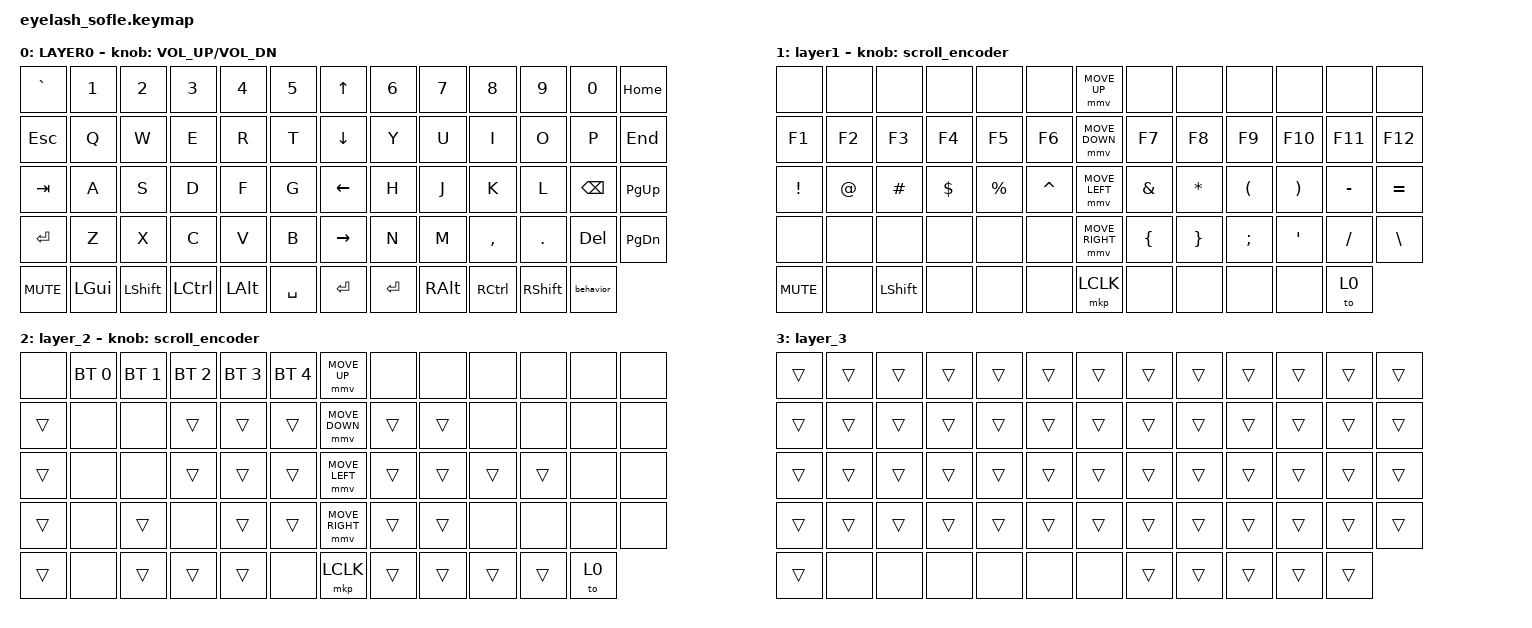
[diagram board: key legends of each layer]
#define ZMK_POINTING_DEFAULT_MOVE_VAL 1200  // 600
#define ZMK_POINTING_DEFAULT_SCRL_VAL 35    // 10

#include <input/processors.dtsi>
#include <zephyr/dt-bindings/input/input-event-codes.h>
#include <behaviors.dtsi>
#include <dt-bindings/zmk/bt.h>
#include <dt-bindings/zmk/keys.h>
#include <dt-bindings/zmk/pointing.h>

/ {
    zip_scroll_scaler: zip_scroll_scaler {
        compatible = "zmk,input-processor-scaler";
        #input-processor-cells = <2>;
        type = <INPUT_EV_REL>;
        codes = <INPUT_REL_WHEEL INPUT_REL_HWHEEL>;
        track-remainders;
    };
};

&mmv_input_listener { input-processors = <&zip_xy_scaler 2 1>; };

&msc_input_listener { input-processors = <&zip_scroll_scaler 2 1>; };

&msc {
    acceleration-exponent = <0>;      // 0
    time-to-max-speed-ms = <0>;       // 300
    delay-ms = <0>;                   // 0
};

&mmv {
    time-to-max-speed-ms = <400>;
    acceleration-exponent = <1>;
};

/ {
    scroll_encoder: scroll_encoder {
        compatible = "zmk,behavior-sensor-rotate";
        #sensor-binding-cells = <0>;
        bindings = <&msc SCRL_DOWN>, <&msc SCRL_UP>;

        tap-ms = <30>;
    };

    new_behavior: new_behavior {
        compatible = "zmk,behavior-hold-tap";
        label = "NEW_BEHAVIOR";
        bindings = <&mo>, <&kp>;

        #binding-cells = <2>;
        tapping-term-ms = <60>;
    };

    behavior: behavior {
        compatible = "zmk,behavior-tap-dance";
        label = "BEHAVIOR";
        #binding-cells = <0>;
        bindings = <&to 1>, <&to 2>, <&to 3>;
    };

    behaviors {
    };

    combos {
        compatible = "zmk,combos";

        refresh {
            bindings = <&kp F5>;
            key-positions = <56 17>;
        };
    };

    macros {
        turn_off: turn_off {
            compatible = "zmk,behavior-macro";
            #binding-cells = <0>;
            bindings = <&none>;
            label = "TURN_OFF";
        };
    };

    keymap {
        compatible = "zmk,keymap";

        layer0 {
            bindings = <
&kp GRAVE   &kp N1        &kp N2          &kp N3     &kp N4        &kp N5       &kp UP_ARROW     &kp N6     &kp N7         &kp N8     &kp N9           &kp N0         &kp HOME
&kp ESCAPE  &kp Q         &kp W           &kp E      &kp R         &kp T        &kp DOWN_ARROW   &kp Y      &kp U          &kp I      &kp O            &kp P          &kp END
&kp TAB     &kp A         &kp S           &kp D      &kp F         &kp G        &kp LEFT_ARROW   &kp H      &kp J          &kp K      &kp L            &kp BACKSPACE  &kp PAGE_UP
&kp ENTER   &kp Z         &kp X           &kp C      &kp V         &kp B        &kp RIGHT_ARROW  &kp N      &kp M          &kp COMMA  &kp DOT          &kp DEL        &kp PAGE_DOWN
&kp C_MUTE  &kp LEFT_GUI  &kp LEFT_SHIFT  &kp LCTRL  &kp LEFT_ALT  &kp SPACE    &kp ENTER        &kp ENTER  &kp RIGHT_ALT  &kp RCTRL  &kp RIGHT_SHIFT  &behavior
            >;

            sensor-bindings = <&inc_dec_kp C_VOLUME_UP C_VOL_DN>;
            display-name = "LAYER0";
        };

        layer_1 {
            bindings = <
&none            &none        &none           &none       &none        &none        &mmv MOVE_UP     &none           &none            &none                 &none                  &none      &none
&kp F1           &kp F2       &kp F3          &kp F4      &kp F5       &kp F6       &mmv MOVE_DOWN   &kp F7          &kp F8           &kp F9                &kp F10                &kp F11    &kp F12
&kp EXCLAMATION  &kp AT_SIGN  &kp HASH        &kp DOLLAR  &kp PERCENT  &kp CARET    &mmv MOVE_LEFT   &kp AMPERSAND   &kp ASTERISK     &kp LEFT_PARENTHESIS  &kp RIGHT_PARENTHESIS  &kp MINUS  &kp EQUAL
&none            &none        &none           &none       &none        &none        &mmv MOVE_RIGHT  &kp LEFT_BRACE  &kp RIGHT_BRACE  &kp SEMI              &kp APOSTROPHE         &kp SLASH  &kp BACKSLASH
&kp C_MUTE       &none        &kp LEFT_SHIFT  &none       &none        &none        &mkp LCLK        &none           &none            &none                 &none                  &to 0
            >;

            display-name = "layer1";
            sensor-bindings = <&scroll_encoder>;
        };

        layer_2 {
            bindings = <
&none   &bt BT_SEL 0  &bt BT_SEL 1  &bt BT_SEL 2  &bt BT_SEL 3  &bt BT_SEL 4    &mmv MOVE_UP     &none   &none   &none   &none   &none  &none
&trans  &none         &none         &trans        &trans        &trans          &mmv MOVE_DOWN   &trans  &trans  &none   &none   &none  &none
&trans  &none         &none         &trans        &trans        &trans          &mmv MOVE_LEFT   &trans  &trans  &trans  &trans  &none  &none
&trans  &none         &trans        &none         &trans        &trans          &mmv MOVE_RIGHT  &trans  &trans  &none   &none   &none  &none
&trans  &none         &trans        &trans        &trans        &none           &mkp LCLK        &trans  &trans  &trans  &trans  &to 0
            >;

            sensor-bindings = <&scroll_encoder>;
        };

        layer_3 {
            bindings = <
&trans  &trans  &trans  &trans  &trans  &trans    &trans  &trans  &trans  &trans  &trans  &trans  &trans
&trans  &trans  &trans  &trans  &trans  &trans    &trans  &trans  &trans  &trans  &trans  &trans  &trans
&trans  &trans  &trans  &trans  &trans  &trans    &trans  &trans  &trans  &trans  &trans  &trans  &trans
&trans  &trans  &trans  &trans  &trans  &trans    &trans  &trans  &trans  &trans  &trans  &trans  &trans
&trans  &none   &none   &none   &none   &none     &none   &trans  &trans  &trans  &trans  &trans
            >;
        };
    };
};
